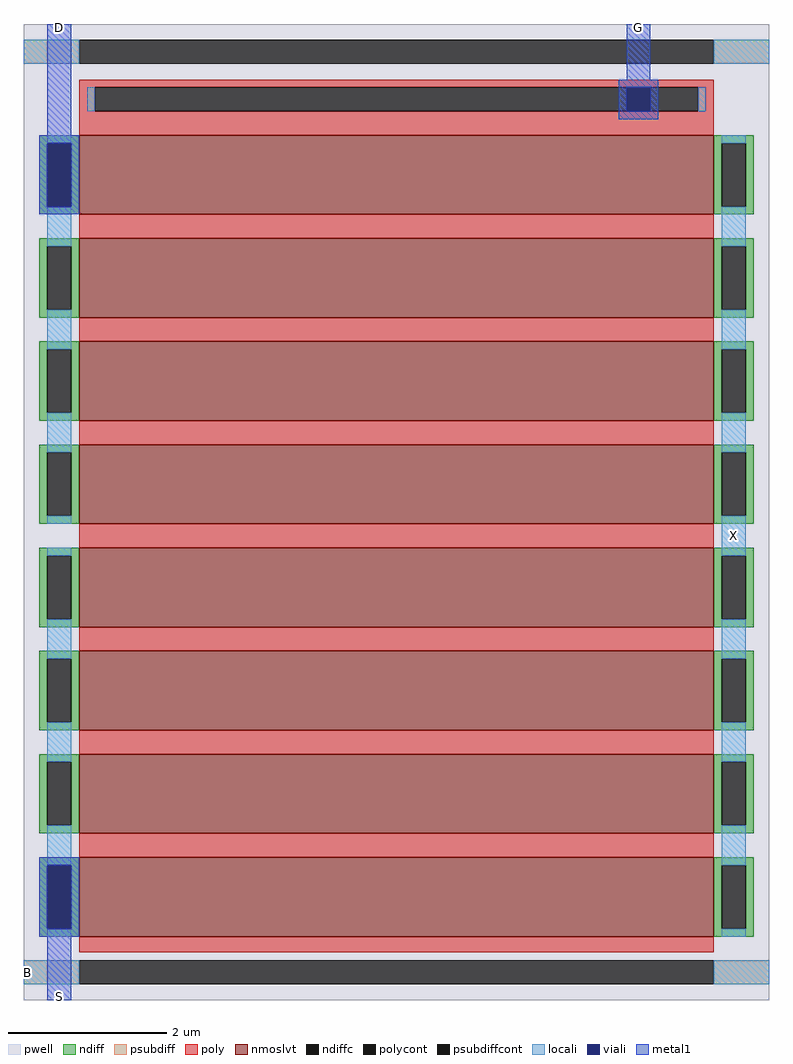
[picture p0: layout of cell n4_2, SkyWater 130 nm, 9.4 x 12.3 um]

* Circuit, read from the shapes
.subckt n4_2 D G S B
XM1 X G S B sky130_fd_pr__nfet_01v8_lvt w=1 l=8 m=4
XM2 X G D B sky130_fd_pr__nfet_01v8_lvt w=1 l=8 m=4
.ends

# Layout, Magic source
magic
tech sky130A
<< pwell >>
rect 0 1150 940 1230
rect 0 1120 850 1150
rect 860 1120 940 1150
rect 0 0 940 1120
<< nmoslvt >>
rect 70 990 870 1090
rect 70 860 870 960
rect 70 730 870 830
rect 70 600 870 700
rect 70 470 870 570
rect 70 340 870 440
rect 70 210 870 310
rect 70 80 870 180
<< ndiff >>
rect 20 1080 70 1090
rect 20 1000 30 1080
rect 60 1000 70 1080
rect 20 990 70 1000
rect 870 1080 920 1090
rect 870 1000 880 1080
rect 910 1000 920 1080
rect 870 990 920 1000
rect 20 950 70 960
rect 20 870 30 950
rect 60 870 70 950
rect 20 860 70 870
rect 870 950 920 960
rect 870 870 880 950
rect 910 870 920 950
rect 870 860 920 870
rect 20 820 70 830
rect 20 740 30 820
rect 60 740 70 820
rect 20 730 70 740
rect 870 820 920 830
rect 870 740 880 820
rect 910 740 920 820
rect 870 730 920 740
rect 20 690 70 700
rect 20 610 30 690
rect 60 610 70 690
rect 20 600 70 610
rect 870 690 920 700
rect 870 610 880 690
rect 910 610 920 690
rect 870 600 920 610
rect 20 560 70 570
rect 20 480 30 560
rect 60 480 70 560
rect 20 470 70 480
rect 870 560 920 570
rect 870 480 880 560
rect 910 480 920 560
rect 870 470 920 480
rect 20 430 70 440
rect 20 350 30 430
rect 60 350 70 430
rect 20 340 70 350
rect 870 430 920 440
rect 870 350 880 430
rect 910 350 920 430
rect 870 340 920 350
rect 20 300 70 310
rect 20 220 30 300
rect 60 220 70 300
rect 20 210 70 220
rect 870 300 920 310
rect 870 220 880 300
rect 910 220 920 300
rect 870 210 920 220
rect 20 170 70 180
rect 20 90 30 170
rect 60 90 70 170
rect 20 80 70 90
rect 870 170 920 180
rect 870 90 880 170
rect 910 90 920 170
rect 870 80 920 90
<< ndiffc >>
rect 30 1000 60 1080
rect 880 1000 910 1080
rect 30 870 60 950
rect 880 870 910 950
rect 30 740 60 820
rect 880 740 910 820
rect 30 610 60 690
rect 880 610 910 690
rect 30 480 60 560
rect 880 480 910 560
rect 30 350 60 430
rect 880 350 910 430
rect 30 220 60 300
rect 880 220 910 300
rect 30 90 60 170
rect 880 90 910 170
<< psubdiff >>
rect 0 1180 70 1210
rect 870 1180 940 1210
rect 0 20 70 50
rect 870 20 940 50
<< psubdiffcont >>
rect 70 1180 870 1210
rect 70 20 870 50
<< poly >>
rect 70 1150 870 1160
rect 70 1120 90 1150
rect 850 1120 870 1150
rect 70 1090 870 1120
rect 70 960 870 990
rect 70 830 870 860
rect 70 700 870 730
rect 70 570 870 600
rect 70 440 870 470
rect 70 310 870 340
rect 70 180 870 210
rect 70 60 870 80
<< polycont >>
rect 90 1120 850 1150
<< locali >>
rect 0 1180 70 1210
rect 870 1180 940 1210
rect 80 1120 90 1150
rect 850 1120 860 1150
rect 30 1080 60 1090
rect 30 950 60 1000
rect 30 820 60 870
rect 30 690 60 740
rect 30 600 60 610
rect 880 1080 910 1090
rect 880 950 910 1000
rect 880 820 910 870
rect 880 690 910 740
rect 30 560 60 570
rect 30 430 60 480
rect 30 300 60 350
rect 30 170 60 220
rect 30 80 60 90
rect 880 560 910 610
rect 880 430 910 480
rect 880 300 910 350
rect 880 170 910 220
rect 880 80 910 90
rect 0 20 70 50
rect 870 20 940 50
<< viali >>
rect 760 1120 790 1150
rect 30 1000 60 1080
rect 30 90 60 170
<< metal1 >>
rect 30 1090 60 1230
rect 760 1160 790 1230
rect 750 1150 800 1160
rect 750 1120 760 1150
rect 790 1120 800 1150
rect 750 1110 800 1120
rect 20 1080 70 1090
rect 20 1000 30 1080
rect 60 1000 70 1080
rect 20 990 70 1000
rect 20 170 70 180
rect 20 90 30 170
rect 60 90 70 170
rect 20 80 70 90
rect 30 0 60 80
<< labels >>
rlabel metal1 30 1220 60 1230 5 D
port 1 s
rlabel metal1 30 0 60 10 1 S
port 3 n
rlabel metal1 760 1220 790 1230 5 G
port 2 s
rlabel locali 0 20 10 50 3 B
port 4 e
rlabel locali 890 580 900 590 1 X
<< end >>
